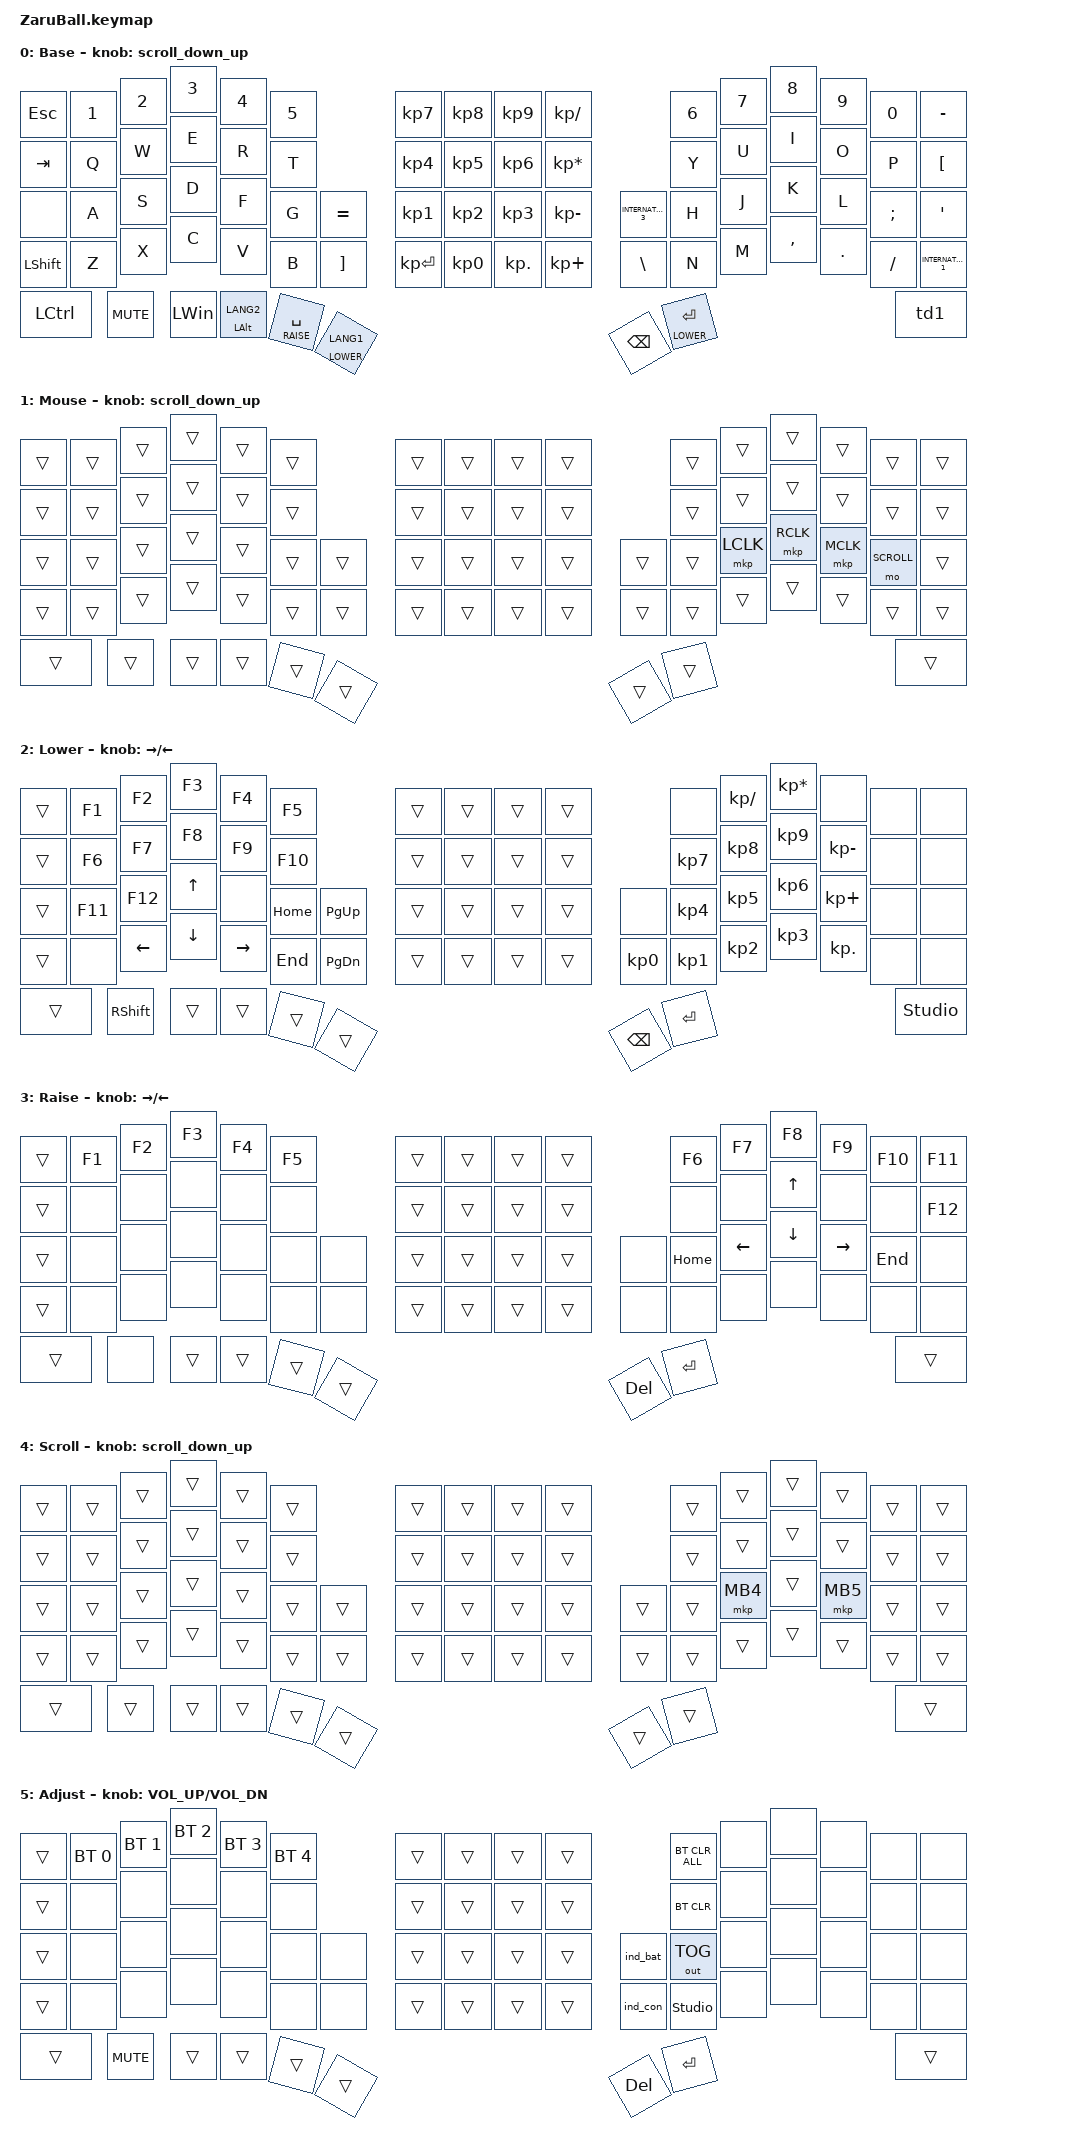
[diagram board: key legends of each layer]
//#include <dt-bindings/zmk/mouse.h>

#include <behaviors/rgbled_widget.dtsi>
#include <behaviors.dtsi>
#include <dt-bindings/zmk/bt.h>
#include <dt-bindings/zmk/keys.h>
#include <dt-bindings/zmk/outputs.h>
#include <dt-bindings/zmk/pointing.h>
#include <input/processors.dtsi>
#include <dt-bindings/zmk/input_transform.h>

#define BASE     0
#define MOUSE    1
#define LOWER    2
#define RAISE    3
#define SCROLL   4
#define ADJUST   5

// OS設定を日本語キーボードのまま使用するための変換定義
#define JP_DQUOTE       AT                // "
#define JP_AMPERSAND    CARET             // &
#define JP_QUOTE        AMPERSAND         // '
#define JP_EQUAL        UNDER             // =
#define JP_CARET        EQUAL             // ^
#define JP_YEN          0x89              // ¥
#define JP_PLUS         COLON             // +
#define JP_TILDE        PLUS              // ~
#define JP_PIPE         LS(0x89)          // |
#define JP_AT           LEFT_BRACKET      // @
#define JP_COLON        SINGLE_QUOTE      // :
#define JP_ASTERISK     DOUBLE_QUOTES     // *
#define JP_BACKQUOTE    LEFT_BRACE        // `
#define JP_UNDERSCORE   LS(0x87)          // _
#define JP_LBRACKET     RIGHT_BRACKET     // [
#define JP_RBRACKET     BACKSLASH         // ]
#define JP_LPAREN       ASTERISK          // (
#define JP_RPAREN       LEFT_PARENTHESIS  // )
#define JP_LBRACE       RIGHT_BRACE       // {
#define JP_RBRACE       PIPE              // }
#define JP_KANA         LANGUAGE_1        // かな
#define JP_EISU         LANGUAGE_2        // 英数
#define JP_HANZEN       GRAVE             // 半角/全角

// スクロール量の設定
#define ZMK_POINTING_DEFAULT_SCRL_VAL 100

// Trackball listener:
// - 座標変換
// - Auto Mouse Layer(AML) への一時遷移
// 打鍵振動による微小移動で AML へ誤遷移しやすかったため、
// 単純な zip_temp_layer ではなく専用の auto_mouse_layer を使う。
&trackball_listener {
    input-processors =  <
                         &zip_xy_transform (INPUT_TRANSFORM_XY_SWAP | INPUT_TRANSFORM_Y_INVERT | INPUT_TRANSFORM_X_INVERT)
                         &auto_mouse_layer MOUSE 500
                        >;
    scroller {
        layers = <SCROLL>;
        input-processors = <
                            &zip_xy_transform (INPUT_TRANSFORM_XY_SWAP | INPUT_TRANSFORM_X_INVERT)
                            &zip_xy_scaler 1 20
                            &zip_xy_to_scroll_mapper
                            >;
    };
};

/ {
    // AML の誤爆対策:
    // - require-prior-idle-ms:
    //   直前にキー入力があった場合は AML に入らない
    // - excluded-positions:
    //   AML 中でも通常キー入力が来たら即座に抜ける
    //   Mouse layer 上の実マウス操作キーのみ維持対象にする
    /omit-if-no-ref/ auto_mouse_layer: auto_mouse_layer {
        compatible = "zmk,input-processor-temp-layer";
        #input-processor-cells = <2>;
        // 打鍵直後の微振動では AML に入らないようにする。
        require-prior-idle-ms = <200>;
        // AML 中でも、通常キーを押したらすぐ抜ける。
        // Mouse layer 上の実マウス操作キーだけは維持対象にする。
        excluded-positions = <45 46 47 48>;
    };

    conditional_layers {
        compatible = "zmk,conditional-layers";

        tri_layer {
            if-layers = <LOWER RAISE>;
            then-layer = <ADJUST>;
        };
    };
};

/ {
    behaviors {
        // スクロール用のbehaviorの設定

        scroll_down_up: behavior_sensor_rotate_mouse_wheel_down_up {
            compatible = "zmk,behavior-sensor-rotate";
            #sensor-binding-cells = <0>;
            bindings = <&msc SCRL_DOWN>, <&msc SCRL_UP>;

            tap-ms = <20>; // スクロールのタップ時間
        };

        td0: tap_dance_0 {
            compatible = "zmk,behavior-tap-dance";
            #binding-cells = <0>;
            tapping-term-ms = <200>;
            bindings = <&mt LALT LANG2>, <&mo RAISE>, <&mo MOUSE>;
        };

        td1: tap_dance_1 {
            compatible = "zmk,behavior-tap-dance";
            #binding-cells = <0>;
            tapping-term-ms = <200>;
            bindings = <&mt RCTL LANG1>, <&mo RAISE>, <&mo MOUSE>;
        };

        // Customed Hold-Tap for SandS

        SandS: SandS {
            compatible = "zmk,behavior-hold-tap";
            #binding-cells = <2>;
            flavor = "tap-unless-interrupted";
            tapping-term-ms = <500>;
            quick-tap-ms = <500>;
            bindings = <&kp>, <&kp>;

            display-name = "SandS";
        };

    };
};

&sl { release-after-ms = <250>; }; // time needed for double click (for mkp_exit_AML)
/ {
    macros {
        // When in AML, move to default layer when key (except mouse button) pressed

        to_layer_0: to_layer_0 {
            compatible = "zmk,behavior-macro-one-param";
            #binding-cells = <1>;
            bindings = <&tog MOUSE &macro_param_1to1 &kp MACRO_PLACEHOLDER>;
            label = "TO_layer_0";
        };

        // When LCLK pressed, exit AML (after 250ms cause by sticky layer

        mkp_exit_AML: mkp_exit_AML {
            compatible = "zmk,behavior-macro-one-param";
            #binding-cells = <1>;
            bindings =
                <&macro_press>,
                <&macro_param_1to1 &mkp MACRO_PLACEHOLDER>,
                <&macro_pause_for_release>,
                <&macro_release>,
                <&macro_param_1to1 &mkp MACRO_PLACEHOLDER>,
                <&macro_tap>,
                <&sl MOUSE>;

            label = "MKP_EXIT_AML";
        };
    };
};

/ {
    keymap {
        compatible = "zmk,keymap";
  
        base_layer {
            display-name = "Base";
            sensor-bindings = <&scroll_down_up>;
            bindings = <
&kp ESC    &kp N1      &kp N2      &kp N3      &kp N4                   &kp N5                             &kp KP_N7     &kp KP_N8  &kp KP_N9   &kp KP_DIVIDE                           &kp N6      &kp N7  &kp N8     &kp N9   &kp N0    &kp MINUS
&kp TAB    &kp Q       &kp W       &kp E       &kp R                    &kp T                              &kp KP_N4     &kp KP_N5  &kp KP_N6   &kp KP_MULTIPLY                         &kp Y       &kp U   &kp I      &kp O    &kp P     &kp LEFT_BRACKET
&none      &kp A       &kp S       &kp D       &kp F                    &kp G            &kp EQUAL         &kp KP_N1     &kp KP_N2  &kp KP_N3   &kp KP_MINUS       &kp INTERNATIONAL_3  &kp H       &kp J   &kp K      &kp L    &kp SEMI  &kp SQT
&kp LSHFT  &kp Z       &kp X       &kp C       &kp V                    &kp B            &kp RIGHT_BRACKET &kp KP_ENTER  &kp KP_N0  &kp KP_DOT  &kp KP_PLUS        &kp BACKSLASH        &kp N       &kp M   &kp COMMA  &kp DOT  &kp FSLH  &kp INTERNATIONAL_1
&kp LCTRL              &kp C_MUTE  &kp LWIN    &mt LEFT_ALT LANG2       &lt RAISE SPACE  &lt LOWER LANG1                                                           &kp BACKSPACE        &lt LOWER RETURN                                  &td1
            >;
        };

        mouse_layer {
            display-name = "Mouse";
            sensor-bindings = <&scroll_down_up>;
            bindings = <
&trans      &trans          &trans          &trans          &trans              &trans                    &trans  &trans  &trans  &trans                     &trans          &trans          &trans           &trans             &trans             &trans
&trans      &trans          &trans          &trans          &trans              &trans                    &trans  &trans  &trans  &trans                     &trans          &trans          &trans           &trans             &trans             &trans
&trans      &trans          &trans          &trans          &trans              &trans          &trans    &trans  &trans  &trans  &trans     &trans          &trans          &mkp LCLK       &mkp RCLK        &mkp MCLK          &mo SCROLL         &trans
&trans      &trans          &trans          &trans          &trans              &trans          &trans    &trans  &trans  &trans  &trans     &trans          &trans          &trans          &trans           &trans             &trans             &trans
&trans                      &trans          &trans          &trans              &trans          &trans                                       &trans          &trans                                                                                 &trans
            >;
        };

        lower_layer {
            display-name = "Lower";
            sensor-bindings = <&inc_dec_kp RIGHT LEFT>;
            bindings = <
&trans  &kp F1   &kp F2     &kp F3    &kp F4     &kp F5                 &trans  &trans  &trans  &trans                    &none          &kp KP_SLASH     &kp KP_MULTIPLY  &none            &none            &none
&trans  &kp F6   &kp F7     &kp F8    &kp F9     &kp F10                &trans  &trans  &trans  &trans                    &kp KP_N7      &kp KP_N8        &kp KP_N9        &kp KP_MINUS     &none            &none
&trans  &kp F11  &kp F12    &kp UP    &none      &kp HOME  &kp PG_UP    &trans  &trans  &trans  &trans    &none           &kp KP_N4      &kp KP_N5        &kp KP_N6        &kp KP_PLUS      &none            &none
&trans  &none    &kp LEFT   &kp DOWN  &kp RIGHT  &kp END   &kp PG_DN    &trans  &trans  &trans  &trans    &kp KP_N0       &kp KP_N1      &kp KP_N2        &kp KP_N3        &kp KP_DOT       &none            &none
&trans           &kp RSHFT  &trans    &trans     &trans    &trans                                         &kp BACKSPACE   &kp RETURN                                                                         &studio_unlock
            >;
        };

        raise_layer {
            display-name = "Raise";
            sensor-bindings = <&inc_dec_kp RIGHT LEFT>;
            bindings = <
&trans  &kp F1  &kp F2  &kp F3  &kp F4  &kp F5             &trans  &trans  &trans  &trans               &kp F6     &kp F7     &kp F8      &kp F9     &kp F10  &kp F11
&trans  &none   &none   &none   &none   &none              &trans  &trans  &trans  &trans               &none      &none      &kp UP      &none      &none    &kp F12
&trans  &none   &none   &none   &none   &none   &none      &trans  &trans  &trans  &trans    &none      &kp HOME   &kp LEFT   &kp DOWN    &kp RIGHT  &kp END  &none
&trans  &none   &none   &none   &none   &none   &none      &trans  &trans  &trans  &trans    &none      &none      &none      &none       &none      &none    &none
&trans          &none   &trans  &trans  &trans  &trans                                       &kp DEL    &kp RETURN                                            &trans
            >;
        };

        // SCROLL
        // トラックボールの移動をスクロールへ変換する専用レイヤー。
        // Mouse layer から一時的に入る想定で、補助ボタンのみを割り当てる。
        scroll_layer {
            display-name = "Scroll";
            sensor-bindings = <&scroll_down_up>;
            bindings = <
&trans      &trans          &trans          &trans          &trans              &trans                    &trans  &trans  &trans  &trans                     &trans          &trans          &trans           &trans             &trans             &trans
&trans      &trans          &trans          &trans          &trans              &trans                    &trans  &trans  &trans  &trans                     &trans          &trans          &trans           &trans             &trans             &trans
&trans      &trans          &trans          &trans          &trans              &trans          &trans    &trans  &trans  &trans  &trans     &trans          &trans          &mkp MB4        &trans            &mkp MB5           &trans             &trans
&trans      &trans          &trans          &trans          &trans              &trans          &trans    &trans  &trans  &trans  &trans     &trans          &trans          &trans          &trans            &trans             &trans             &trans
&trans                      &trans          &trans          &trans              &trans          &trans                                       &trans          &trans                                                                                 &trans
            >;
        };

        adjust_layer {
            display-name = "Adjust";
            sensor-bindings = <&inc_dec_kp C_VOL_UP C_VOL_DN>;
            bindings = <
&trans  &bt BT_SEL 0  &bt BT_SEL 1  &bt BT_SEL 2  &bt BT_SEL 3  &bt BT_SEL 4            &trans  &trans  &trans  &trans              &bt BT_CLR_ALL  &none    &none    &none  &none  &none
&trans  &none         &none         &none         &none         &none                   &trans  &trans  &trans  &trans              &bt BT_CLR      &none    &none    &none  &none  &none
&trans  &none         &none         &none         &none         &none         &none     &trans  &trans  &trans  &trans    &ind_bat  &out OUT_TOG    &none    &none    &none  &none  &none
&trans  &none         &none         &none         &none         &none         &none     &trans  &trans  &trans  &trans    &ind_con  &studio_unlock  &none    &none    &none  &none  &none
&trans                &kp C_MUTE    &trans        &trans        &trans        &trans                                      &kp DEL   &kp RETURN                                      &trans
            >;
        };

        // Extra layer can be added in ZMK STUDIO

        extra1 { status = "reserved"; };

        extra2 { status = "reserved"; };
    };
};
